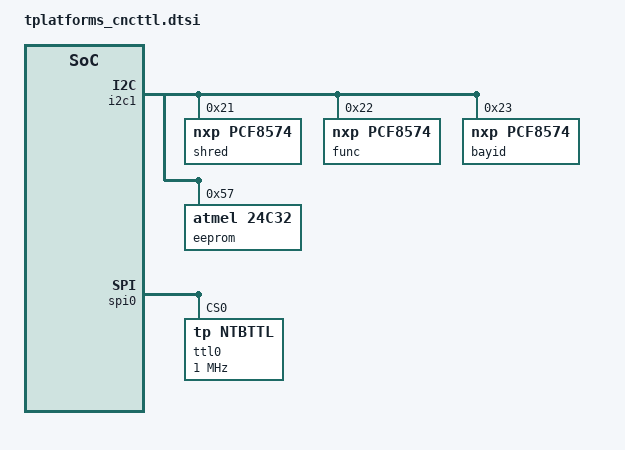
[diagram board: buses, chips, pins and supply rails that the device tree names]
/*
 * Baikal-T/T1 CNC TTL board device tree
 *
 * Copyright (C) 2018 T-platforms JSC
 *
 * This program is free software; you can redistribute it and/or
 * modify it under the terms of the GNU General Public License
 * as published by the Free Software Foundation; either version 2
 * of the License, or (at your option) any later version.
 */

/ {
	/* Reserve memory regions for CMA and NTB */
	reserved-memory {
		#address-cells = <1>;
		#size-cells = <1>;
		ranges;

		/* Reserve 3MB for various CMA-based things (ntb_tool, etc) */
		cma_reserved {
			compatible = "shared-dma-pool";
			size = <0x300000>;
			reusable;
			linux,cma-default;
		};
	};

	/*
	 * Pseudo-device with watchdog timer GPIO-pins declaration. It will be
	 * used in CNC NTB driver to notify CU of possible peripheral board
	 * hang ups.
	 */
	cnc_wd_gpio {
		wd_setup-gpios = <&porta 2  GPIO_ACTIVE_HIGH>, /* wd_set pin */
				 <&porta 27 GPIO_ACTIVE_HIGH>; /* wd_in  pin */
	};

	/*
	 * Pseudo-device with TTL reference out IRQ lines declaration.
	 * They are used by CNC TTL driver logic to notify CU of incoming
	 * reference events.
	 */
	cnc_ttl_gpio {
		cnc_irq-gpios = <&porta 31 GPIO_ACTIVE_HIGH>, /* First custom IRQ line */
				<&porta 29 GPIO_ACTIVE_HIGH>; /* Second custom IRQ line */
		cnc_ref-gpios = <&porta 13 GPIO_ACTIVE_HIGH>, /* Port #0 reference */
				<&porta  7 GPIO_ACTIVE_HIGH>, /* Port #1 reference */
				<&porta  9 GPIO_ACTIVE_HIGH>, /* Port #2 reference */
				<&porta 16 GPIO_ACTIVE_HIGH>, /* Port #3 reference */
				<&porta 26 GPIO_ACTIVE_HIGH>, /* Port #4 reference */
				<&porta  0 GPIO_ACTIVE_HIGH>, /* Port #5 reference */
				<&porta 30 GPIO_ACTIVE_HIGH>, /* Port #6 reference */
				<&porta  1 GPIO_ACTIVE_HIGH>; /* Port #7 reference */
	};
};

&usb {
	status = "disabled";
};

&sata {
	status = "disabled";
};

&xgmac {
	status = "disabled";
};

&gmac0 {
	status = "disabled";
};

&gmac1 {
	status = "disabled";
};

/* Board settings devices */
&i2c1 {
	status = "okay";

	shred@21 {
		compatible = "nxp,pcf8574";
		reg = <0x21>;
		gpio-controller;
		#gpio-cells = <2>;
		ngpios = <8>; /* Informative */
	};

	func@22 {
		compatible = "nxp,pcf8574";
		reg = <0x22>;
		gpio-controller;
		#gpio-cells = <2>;
		ngpios = <8>; /* Informative */
	};

	bayid@23 {
		compatible = "nxp,pcf8574";
		reg = <0x23>;
		gpio-controller;
		#gpio-cells = <2>;
		ngpios = <8>; /* Informative */
	};

        eeprom@57 {
                compatible = "atmel,24c32";
                reg = <0x57>;
                pagesize = <16>;
        };
};

&uart1 {
	status = "disabled";
};

/* CPLD Altera Max V with TTL firmware */
&spi0 {
	status = "okay";

	num-cs = <1>;

	ttl0: alteraCPLD@0 {
		compatible = "tp,ntbttl";
		reg = <0>;
		spi-max-frequency = <1000000>;
		spi-cpol;
	};
};

&spi1 {
	status = "disabled";
};
